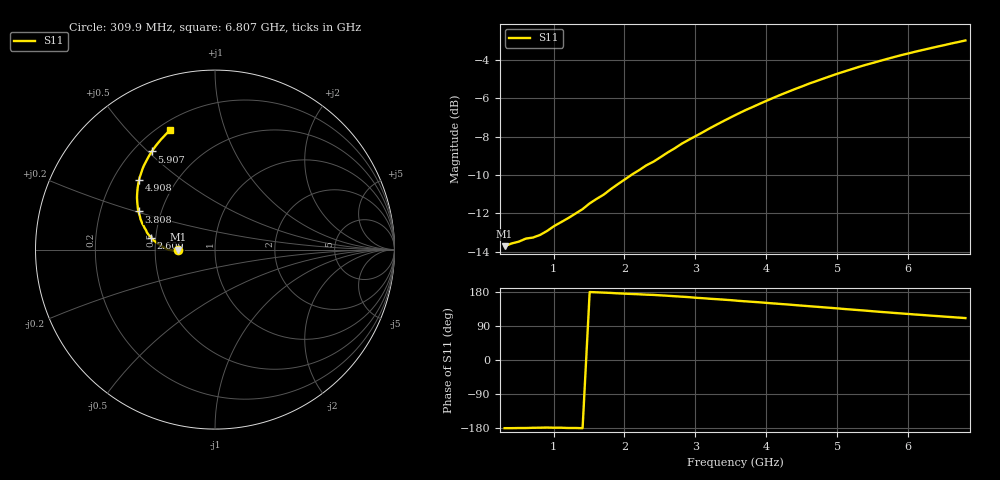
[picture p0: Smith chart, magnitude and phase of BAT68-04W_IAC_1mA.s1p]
! Infineon Technologies  Discrete & RF Semiconductors
! BAT68-04W
! IAC = 1 mA
! One-Port S-Parameters
# Hz  S  MA  R  50
!f  S11
!Hz  Mag  Ang
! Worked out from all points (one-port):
!   66 points, 309.9 MHz to 6.807 GHz, reference 50 ohm
!   lowest |S11| = -13.7 dB at 309.9 MHz (marker M1), VSWR 1.52, Z = 32.9 - j0.039 ohm
!   |S11| at or under -10 dB: start of sweep to 2.096 GHz
!   S11 on the Smith chart (normalised r, x): 309.9 MHz: 0.66, -0.00; 2.609 GHz: 0.47, +0.07; 3.808 GHz: 0.37, +0.20; 4.908 GHz: 0.31, +0.36; 5.907 GHz: 0.27, +0.51; 6.807 GHz: 0.25, +0.66
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3.0985e8  0.2061 -179.8
6.097e8  0.2157 -179.5
7.0965e8  0.217 -178.9
8.096e8  0.2205 -178.6
9.0955e8  0.2259 -178.2
1.2094e9  0.2441 -179.5
1.4093e9  0.2575 -179.9
1.6092e9  0.274 178.6
2.009e9  0.3082 174.9
2.30885e9  0.3352 172.4
2.4088e9  0.3426 171.8
2.6087e9  0.362 169.5
2.8086e9  0.3818 167.1
2.90855e9  0.391 165.9
3.30835e9  0.429 160.5
3.50825e9  0.4482 157.8
3.6082e9  0.4578 156.1
3.8081e9  0.4762 153.5
4.10795e9  0.5037 149.2
4.4078e9  0.5306 144.9
4.6077e9  0.5483 141.9
4.90755e9  0.5734 137.6
5.2074e9  0.5979 133.0
5.4073e9  0.6138 130.1
5.90705e9  0.6506 122.8
6.007e9  0.6573 121.4
6.4068e9  0.6842 116.0
6.8066e9  0.7103 110.6
